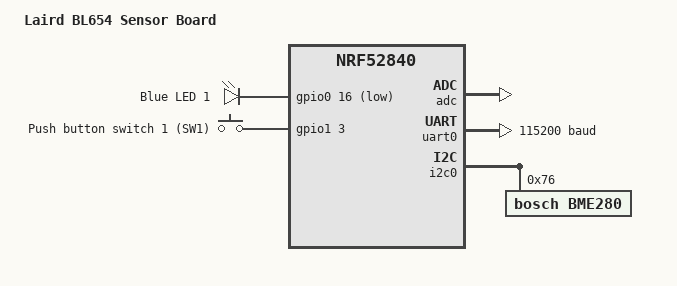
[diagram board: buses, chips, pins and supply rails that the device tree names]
/*
 * Copyright (c) 2021 Laird Connectivity
 * Copyright (c) 2023 Jamie M.
 *
 * SPDX-License-Identifier: Apache-2.0
 */

/dts-v1/;
#include <nordic/nrf52840_qiaa.dtsi>
#include "bl654_sensor_board_no_sb-pinctrl.dtsi"
#include <zephyr/dt-bindings/input/input-event-codes.h>

/ {
	model = "Laird BL654 Sensor Board";
	compatible = "lairdconnect,bl654-sensor-board";

	chosen {
		zephyr,console = &uart0;
		zephyr,shell-uart = &uart0;
		zephyr,uart-mcumgr = &uart0;
		zephyr,sram = &sram0;
		zephyr,flash = &flash0;
		zephyr,code-partition = &slot0_partition;
	};

	leds {
		compatible = "gpio-leds";
		led1: led_1 {
			gpios = <&gpio0 16 GPIO_ACTIVE_LOW>;
			label = "Blue LED 1";
		};
	};

	buttons {
		compatible = "gpio-keys";
		button1: button_1 {
			gpios = <&gpio1 3 GPIO_ACTIVE_HIGH>;
			label = "Push button switch 1 (SW1)";
			zephyr,code = <INPUT_KEY_0>;
		};
	};

	/* These aliases are provided for compatibility with samples */
	aliases {
		led0 = &led1;
		sw0 = &button1;
		mcuboot-button0 = &button1;
		mcuboot-led0 = &led1;
		watchdog0 = &wdt0;
	};
};

&adc {
	status = "okay";
};

&gpiote {
	status = "okay";
};

&gpio0 {
	status = "okay";
};

&gpio1 {
	status = "okay";
};

&uart0 {
	compatible = "nordic,nrf-uart";
	current-speed = <115200>;
	status = "okay";
	pinctrl-0 = <&uart0_default>;
	pinctrl-1 = <&uart0_sleep>;
	pinctrl-names = "default", "sleep";
};

&i2c0 {
	compatible = "nordic,nrf-twi";
	status = "okay";

	pinctrl-0 = <&i2c0_default>;
	pinctrl-1 = <&i2c0_sleep>;
	pinctrl-names = "default", "sleep";
	bme280@76 {
		compatible = "bosch,bme280";
		status = "okay";
		reg = <0x76>;
	};
};

&pwm0 {
	status = "disabled";
	pinctrl-0 = <&pwm0_default>;
	pinctrl-1 = <&pwm0_sleep>;
	pinctrl-names = "default", "sleep";
};

&radio {
	status = "disabled";
};

&ieee802154 {
	status = "disabled";
};

&flash0 {
	partitions {
		compatible = "fixed-partitions";
		#address-cells = <1>;
		#size-cells = <1>;

		old_stuff_partition: partition@0 {
			label = "MBR-and-SD";
			reg = <0x00000000 0x00026000>;
			read-only;
		};
		boot_partition: partition@27000 {
			label = "mcuboot";
			reg = <0x00027000 0x00008000>;
		};
		slot0_partition: partition@2f000 {
			label = "image-0";
			reg = <0x0002f000 0x000b6000>;
		};

		/*
		 * Storage partition will be used by FCB/LittleFS/NVS
		 * if enabled.
		 */
		storage_partition: partition@e5000 {
			label = "storage";
			reg = <0x000e5000 0x00008000>;
		};

		sb_bootloader_partition: partition@ed000 {
			label = "sb-bootloader";
			reg = <0x000ed000 0x00013000>;
			read-only;
		};
	};
};
